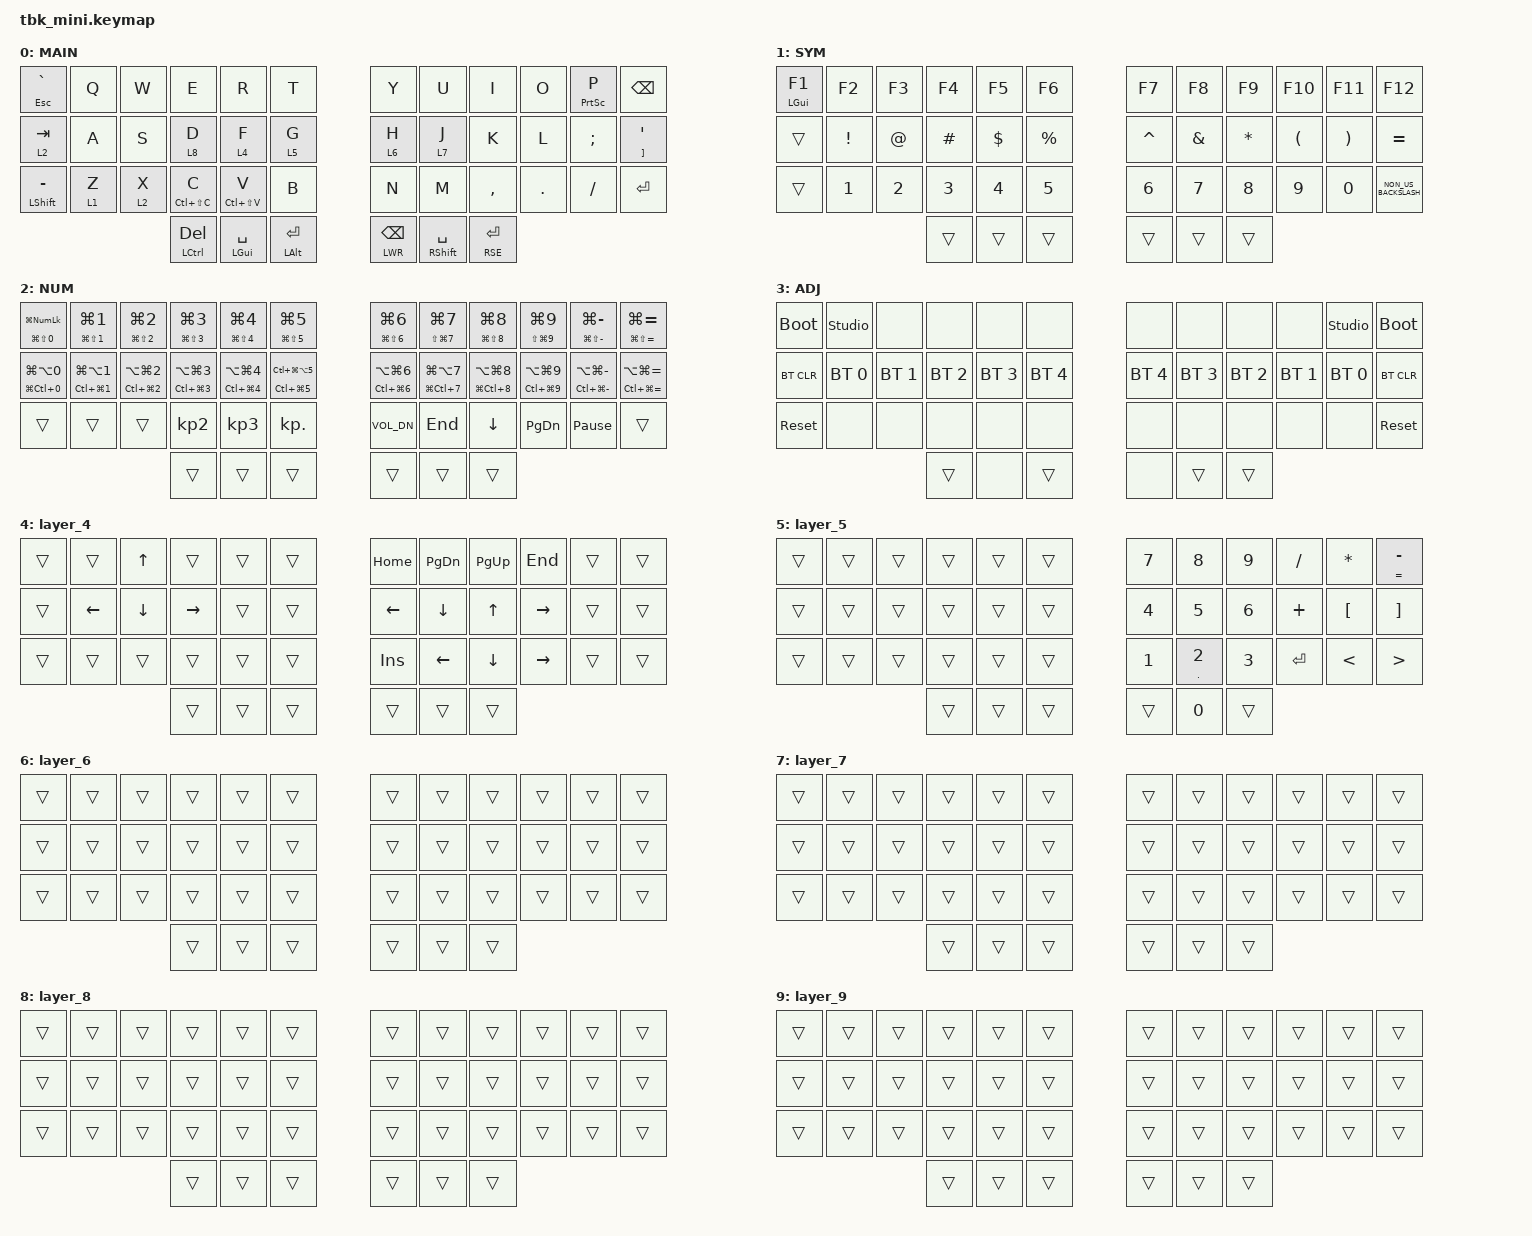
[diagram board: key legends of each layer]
#include <behaviors.dtsi>
#include <dt-bindings/zmk/bt.h>
#include <dt-bindings/zmk/keys.h>

#define DEF 0
#define LWR 1
#define RSE 2
#define ADJ 3

&lt { quick-tap-ms = <200>; };

&mt { quick-tap-ms = <200>; };

/ {
    conditional_layers {
        compatible = "zmk,conditional-layers";

        tri-layer {
            if-layers = <LWR RSE>;
            then-layer = <ADJ>;
        };
    };

    combos {
        compatible = "zmk,combos";

        vimesc {
            bindings = <&kp ESC>;
            key-positions = <7 19>;
        };

        arrows {
            bindings = <&tog 4>;
            key-positions = <31 32 33>;
        };

        numbers {
            bindings = <&tog 5>;
            key-positions = <18 19 20>;
        };

        clear {
            bindings = <&bt BT_CLR>;
            key-positions = <13 12 14 15 16 17>;
        };

        bootloader {
            bindings = <&bootloader>;
            key-positions = <0 12 24 38>;
        };

        blr {
            bindings = <&bootloader>;
            key-positions = <11 23 35 39>;
        };

        ctrlins {
            bindings = <&kp LC(INS)>;
            key-positions = <26 14>;
        };

        shiftins {
            bindings = <&kp LS(INS)>;
            key-positions = <27 15>;
        };
    };

    keymap {
        compatible = "zmk,keymap";

        default_layer {
            display-name = "MAIN";
            bindings = <
&mt ESCAPE GRAVE      &kp Q    &kp W    &kp E             &kp R               &kp T             &kp Y              &kp U            &kp I          &kp O    &mt PRINTSCREEN P  &kp BACKSPACE
&lt 2 TAB             &kp A    &kp S    &lt 8 D           &lt 4 F             &lt 5 G           &lt 6 H            &lt 7 J          &kp K          &kp L    &kp SEMI           &mt RIGHT_BRACKET SQT
&mt LEFT_SHIFT MINUS  &lt 1 Z  &lt 2 X  &mt LC(LS(C)) C   &mt LC(LS(V)) V     &kp B             &kp N              &kp M            &kp COMMA      &kp DOT  &kp FSLH           &kp ENTER
                                        &mt LCTRL DELETE  &mt LEFT_GUI SPACE  &mt LEFT_ALT RET  &lt LWR BACKSPACE  &mt RSHFT SPACE  &lt RSE ENTER
            >;
        };

        lower_layer {
            display-name = "SYM";
            bindings = <
&mt LGUI F1  &kp F2        &kp F3        &kp F4    &kp F5    &kp F6     &kp F7     &kp F8    &kp F9    &kp F10   &kp F11   &kp F12
&trans       &kp EXCL      &kp AT        &kp HASH  &kp DLLR  &kp PRCNT  &kp CARET  &kp AMPS  &kp STAR  &kp LPAR  &kp RPAR  &kp EQUAL
&trans       &kp NUMBER_1  &kp NUMBER_2  &kp N3    &kp N4    &kp N5     &kp N6     &kp N7    &kp N8    &kp N9    &kp N0    &kp NON_US_BACKSLASH
                                         &trans    &trans    &trans     &trans     &trans    &trans
            >;
        };

        raise_layer {
            display-name = "NUM";
            bindings = <
&mt LG(LS(N0)) LG(KP_NUM)  &mt LG(LS(NUMBER_1)) LG(NUMBER_1)      &mt LG(LS(NUMBER_2)) LG(NUMBER_2)      &mt LG(LS(NUMBER_3)) LG(NUMBER_3)      &mt LG(LS(NUMBER_4)) LG(NUMBER_4)      &mt LG(LS(N5)) LG(N5)          &mt LG(LS(NUMBER_6)) LG(NUMBER_6)      &mt LS(LG(N7)) LG(N7)      &mt LG(LS(N8)) LG(N8)      &mt LS(LG(N9)) LG(N9)      &mt LG(LS(MINUS)) LG(MINUS)      &mt LG(LS(EQUAL)) LG(EQUAL)
&mt LG(LC(N0)) LG(LA(N0))  &mt LC(LG(NUMBER_1)) LG(LA(NUMBER_1))  &mt LC(LG(NUMBER_2)) LA(LG(NUMBER_2))  &mt LC(LG(NUMBER_3)) LA(LG(NUMBER_3))  &mt LC(LG(NUMBER_4)) LA(LG(NUMBER_4))  &mt LC(LG(N5)) LC(LG(LA(N5)))  &mt LC(LG(NUMBER_6)) LA(LG(NUMBER_6))  &mt LG(LC(N7)) LG(LA(N7))  &mt LG(LC(N8)) LA(LG(N8))  &mt LC(LG(N9)) LA(LG(N9))  &mt LC(LG(MINUS)) LA(LG(MINUS))  &mt LC(LG(EQUAL)) LA(LG(EQUAL))
&trans                     &trans                                 &trans                                 &kp KP_N2                              &kp KP_N3                              &kp KP_DOT                     &kp C_VOL_DN                           &kp END                    &kp DOWN                   &kp PG_DN                  &kp PAUSE_BREAK                  &trans
                                                                                                         &trans                                 &trans                                 &trans                         &trans                                 &trans                     &trans
            >;
        };

        adjust_layer {
            display-name = "ADJ";
            bindings = <
&bootloader  &studio_unlock  &none         &none         &none         &none         &none         &none         &none         &none         &studio_unlock  &bootloader
&bt BT_CLR   &bt BT_SEL 0    &bt BT_SEL 1  &bt BT_SEL 2  &bt BT_SEL 3  &bt BT_SEL 4  &bt BT_SEL 4  &bt BT_SEL 3  &bt BT_SEL 2  &bt BT_SEL 1  &bt BT_SEL 0    &bt BT_CLR
&sys_reset   &none           &none         &none         &none         &none         &none         &none         &none         &none         &none           &sys_reset
                                           &trans        &none         &trans        &none         &trans        &trans
            >;
        };

        layer_4 {
            bindings = <
&trans  &trans    &kp UP    &trans     &trans  &trans  &kp HOME        &kp PAGE_DOWN   &kp PAGE_UP  &kp END    &trans  &trans
&trans  &kp LEFT  &kp DOWN  &kp RIGHT  &trans  &trans  &kp LEFT_ARROW  &kp DOWN_ARROW  &kp UP       &kp RIGHT  &trans  &trans
&trans  &trans    &trans    &trans     &trans  &trans  &kp INSERT      &kp LEFT        &kp DOWN     &kp RIGHT  &trans  &trans
                            &trans     &trans  &trans  &trans          &trans          &trans
            >;
        };

        layer_5 {
            bindings = <
&trans  &trans  &trans  &trans  &trans  &trans  &kp N7        &kp N8               &kp N9        &kp SLASH  &kp ASTERISK      &mt EQUAL MINUS
&trans  &trans  &trans  &trans  &trans  &trans  &kp NUMBER_4  &kp N5               &kp NUMBER_6  &kp PLUS   &kp LEFT_BRACKET  &kp RIGHT_BRACKET
&trans  &trans  &trans  &trans  &trans  &trans  &kp N1        &mt PERIOD NUMBER_2  &kp NUMBER_3  &kp ENTER  &kp LESS_THAN     &kp GREATER_THAN
                        &trans  &trans  &trans  &trans        &kp N0               &trans
            >;
        };

        layer_6 {
            bindings = <
&trans  &trans  &trans  &trans  &trans  &trans  &trans  &trans  &trans  &trans  &trans  &trans
&trans  &trans  &trans  &trans  &trans  &trans  &trans  &trans  &trans  &trans  &trans  &trans
&trans  &trans  &trans  &trans  &trans  &trans  &trans  &trans  &trans  &trans  &trans  &trans
                        &trans  &trans  &trans  &trans  &trans  &trans
            >;
        };

        layer_7 {
            bindings = <
&trans  &trans  &trans  &trans  &trans  &trans  &trans  &trans  &trans  &trans  &trans  &trans
&trans  &trans  &trans  &trans  &trans  &trans  &trans  &trans  &trans  &trans  &trans  &trans
&trans  &trans  &trans  &trans  &trans  &trans  &trans  &trans  &trans  &trans  &trans  &trans
                        &trans  &trans  &trans  &trans  &trans  &trans
            >;
        };

        layer_8 {
            bindings = <
&trans  &trans  &trans  &trans  &trans  &trans  &trans  &trans  &trans  &trans  &trans  &trans
&trans  &trans  &trans  &trans  &trans  &trans  &trans  &trans  &trans  &trans  &trans  &trans
&trans  &trans  &trans  &trans  &trans  &trans  &trans  &trans  &trans  &trans  &trans  &trans
                        &trans  &trans  &trans  &trans  &trans  &trans
            >;
        };

        layer_9 {
            bindings = <
&trans  &trans  &trans  &trans  &trans  &trans  &trans  &trans  &trans  &trans  &trans  &trans
&trans  &trans  &trans  &trans  &trans  &trans  &trans  &trans  &trans  &trans  &trans  &trans
&trans  &trans  &trans  &trans  &trans  &trans  &trans  &trans  &trans  &trans  &trans  &trans
                        &trans  &trans  &trans  &trans  &trans  &trans
            >;
        };
    };
};
